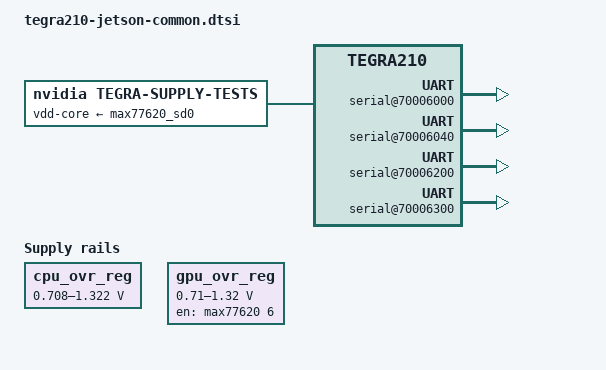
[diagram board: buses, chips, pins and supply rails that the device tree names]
/*
 * Copyright (c) 2014-2016, NVIDIA CORPORATION.  All rights reserved.
 *
 * This program is free software; you can redistribute it and/or modify
 * it under the terms of the GNU General Public License as published by
 * the Free Software Foundation; either version 2 of the License, or
 * (at your option) any later version.
 *
 * This program is distributed in the hope that it will be useful, but WITHOUT
 * ANY WARRANTY; without even the implied warranty of MERCHANTABILITY or
 * FITNESS FOR A PARTICULAR PURPOSE.  See the GNU General Public License for
 * more details.
 *
 * You should have received a copy of the GNU General Public License along
 * with this program; if not, write to the Free Software Foundation, Inc.,
 * 51 Franklin Street, Fifth Floor, Boston, MA  02110-1301, USA.
 */

#include <tegra210-soc/tegra210-soc-shield.dtsi>
#include <dt-bindings/interrupt-controller/arm-gic.h>
#include <dt-bindings/gpio/tegra-gpio.h>
#include <dt-bindings/padctrl/tegra210-pads.h>
#include <dt-bindings/clock/tegra210-car.h>
#include <dt-bindings/reset/tegra210-car.h>
#include <dt-bindings/soc/tegra-pmc.h>
#include <dt-bindings/thermal/tegra124-soctherm.h>
#include <dt-bindings/thermal/tegra210-trips.h>
#include <tegra210-soc/tegra210-prods.dtsi>
#include <t210-common-platforms/tegra210-ers-touch-e1937-1000-a00.dtsi>
#include <tegra210-soc/tegra210-modem-common.dtsi>
#include <tegra210-soc/tegra210-trusty.dtsi>

/ {
	nvidia,dtbbuildtime = __DATE__, __TIME__;

	serial@70006000 {
		compatible = "nvidia,tegra210-uart", "nvidia,tegra114-hsuart";
		console-port;
		sqa-automation-port;
		enable-rx-poll-timer;
		status = "okay";
	};

	serial@70006040 {
		status = "okay";
	};

	serial@70006200 {
		status = "okay";
	};

	serial@70006300 {
		status = "okay";
	};

	rtc {
		nvidia,pmc-wakeup = <&tegra_pmc PMC_WAKE_TYPE_EVENT 16
				     PMC_TRIGGER_TYPE_HIGH>;
	};

	pmc@7000e400 {
		nvidia,suspend-mode = <0>;
		nvidia,cpu-pwr-good-time = <0>;
		nvidia,cpu-pwr-off-time = <0>;
		nvidia,core-pwr-good-time = <4587 3876>;
		nvidia,core-pwr-off-time = <39065>;
		nvidia,core-power-req-active-high;
		nvidia,sys-clock-req-active-high;
		#nvidia,wake-cells = <3>;

		io-pad-defaults {
			pex-bias {
				nvidia,deep-power-down-enable;
			};

			pex-clk1 {
				nvidia,deep-power-down-enable;
			};

			pex-clk2 {
				nvidia,deep-power-down-enable;
			};
		};

		bootrom-commands {
			nvidia,command-retries-count = <2>;
			nvidia,delay-between-commands-us = <10>;
			nvidia,wait-before-start-bus-clear-us = <10>;
			#address-cells = <1>;
			#size-cells = <0>;
		};
	};

	extcon {
		id_gpio_extcon: extcon@0 {
			compatible = "extcon-gpio";
			reg = <0x0>;
			extcon-gpio,name = "ID";
			gpio = <&max77620 0 0>;
			extcon-gpio,connection-state-low;
			extcon-gpio,cable-name = "USB-Host";
			#extcon-cells = <1>;
		};
	};

	usb_cd: usb_cd@7009f000 {
		compatible = "nvidia,tegra210-usb-cd";
		reg = <0x0 0x7009f000 0x0 0x1000>;
		#extcon-cells = <1>;
		status = "disabled";
		dt-override-status-odm-data = <0x1000000 0x1000000>;
	};

	psy_extcon_xudc {
		compatible = "power-supply-extcon";
		extcon-cables = <&usb_cd 1 &usb_cd 2 &usb_cd 3
				&usb_cd 4 &usb_cd 5 &usb_cd 6
				&usb_cd 7 &usb_cd 8 &usb_cd 9>;
		extcon-cable-names = "usb-charger", "ta-charger", "maxim-charger",
				"qc2-charger", "downstream-charger", "slow-charger",
				"apple-500ma", "apple-1a", "apple-2a";
		status = "disabled";
		dt-override-status-odm-data = <0x1000000 0x1000000>;
	};

        psy_extcon {
                compatible = "power-supply-extcon";
                extcon-cables = <&udc 1 &udc 2 &udc 3
                                &udc 4 &udc 5 &udc 6
                                &udc 7 &udc 8 &udc 9
                                &udc 10 &udc 11 &udc 12 &udc 13 &otg 0 &otg 1>;
                extcon-cable-names = "usb-charger", "ta-charger", "maxim-charger",
                                "qc2-charger", "downstream-charger","fast-charger",
                                "slow-charger", "apple-500ma", "apple-1a",
                                "apple-2a", "ACA NV-Charger", "ACA RID-B", "ACA RID-C", "y-cable", "ACA RID-A";
				status = "disabled";
        };

	ehci@7d004000 {
		avdd_usb-supply = <&vdd_3v3>;
		avdd_pll_utmip-supply = <&max77620_sd3>;
		vddio_hsic-supply = <&max77620_ldo0>;
		status = "disabled";
	};

	watchdog@60005100 {
		dt-override-status-odm-data = <0x00010000 0x00010000>;
		nvidia,enable-on-init;
		nvidia,heartbeat-init = <120>;
	};

	tegra-supply-tests {
		compatible = "nvidia,tegra-supply-tests";
		vdd-core-supply=<&max77620_sd0>;
	};

	camera-pcl {
		dpd {
			compatible = "nvidia,csi-dpd";
			#address-cells = <1>;
			#size-cells = <0>;
			num = <6>;
			csia {
				reg = <0x0 0x0 0x0 0x0>;
			};
			csib {
				reg = <0x0 0x1 0x0 0x0>;
			};
			csic {
				reg = <0x1 0x0a 0x0 0x0>;
			};
			csid {
				reg = <0x1 0x0b 0x0 0x0>;
			};
			csie {
				reg = <0x1 0x0c 0x0 0x0>;
			};
			csif {
				reg = <0x1 0x0d 0x0 0x0>;
			};
		};
	};

	rollback-protection {
		device-name = "sdmmc";
		device-method = <0x1 0x00000002>;  /* type (0x1 = ioctl), argument */
		status = "disabled";
	};

        apbmisc@70000800 {
                compatible = "nvidia,tegra210-apbmisc", "nvidia,tegra20-apbmisc";
                reg = <0x0 0x70000800 0x0 0x64>,   /* Chip revision */
                      <0x0 0x70000008 0x0 0x04>;   /* Strapping options */
        };

	pwm_dfll: pwm@70110000 {
		compatible = "nvidia,tegra210-dfll-pwm";
		reg = <0x0 0x70110000 0x0 0x400>;
		clocks = <&tegra_car TEGRA210_CLK_DFLL_REF>;
		clock-names = "ref";
		#pwm-cells = <2>;
		pwm-regulator = <&cpu_ovr_reg>;
		status = "disable";
	};

	pwm_regulators {
		compatible = "simple-bus";
		#address-cells = <1>;
		#size-cells = <0>;

		cpu_ovr_reg: pwm-regulator@0 {
			status = "okay";
			reg = <0>;
			compatible = "pwm-regulator";
			pwms = <&pwm_dfll 0 2500>;
			regulator-name = "vdd-cpu";
			regulator-min-microvolt = <708000>;
			regulator-max-microvolt = <1322400>;
			regulator-always-on;
			regulator-boot-on;
			voltage-table =
				<708000 0>, <727200 1>, <746400 2>,
				<765600 3>, <784800 4>, <804000 5>,
				<823200 6>, <842400 7>, <861600 8>,
				<880800 9>, <900000 10>, <919200 11>,
				<938400 12>, <957600 13>, <976800 14>,
				<996000 15>, <1015200 16>, <1034400 17>,
				<1053600 18>, <1072800 19>, <1092000 20>,
				<1111200 21>, <1130400 22>, <1149600 23>,
				<1168800 24>, <1188000 25>, <1207200 26>,
				<1226400 27>, <1245600 28>, <1264800 29>,
				<1284000 30>, <1303200 31>, <1322400 32>;
		};

		gpu_ovr_reg: pwm-regulator@1 {
			status = "okay";
			reg = <1>;
			compatible = "pwm-regulator";
			pwms = <&tegra_pwm 1 4880>;
			regulator-name = "vdd-gpu";
			regulator-min-microvolt = <710000>;
			regulator-max-microvolt = <1320000>;
			regulator-init-microvolt = <1000000>;
			regulator-n-voltages = <62>;
			regulator-enable-ramp-delay = <1000>;
			enable-gpio = <&max77620 6 0>;
			voltage-time-sel = <80>;
                };

	};

	dfll: clock@70110000 {
		compatible = "nvidia,tegra210-dfll";
		interrupts = <GIC_SPI 62 IRQ_TYPE_LEVEL_HIGH>;
		clocks = <&tegra_car TEGRA210_CLK_DFLL_SOC>,
				<&tegra_car TEGRA210_CLK_DFLL_REF>,
				<&tegra_car TEGRA210_CLK_I2C5>;
		clock-names = "soc", "ref", "i2c";
		resets = <&tegra_car TEGRA210_RST_DFLL_DVCO>;
		reset-names = "dvco";
		#clock-cells = <0>;
		clock-output-names = "dfllCPU_out";
		status = "disabled";
	};

	cpus {
		cpu@0 {
			clocks = <&tegra_car TEGRA210_CLK_CCLK_G>,
				 <&tegra_car TEGRA210_CLK_CCLK_LP>,
				 <&tegra_car TEGRA210_CLK_PLL_X>,
				 <&tegra_car TEGRA210_CLK_PLL_P_OUT4>,
				 <&dfll>;
			clock-names = "cpu_g", "cpu_lp", "pll_x", "pll_p", "dfll";
			clock-latency = <300000>;
		};
	};

	mc: memory-controller@70019000 {
		compatible = "nvidia,tegra210-mc";
		reg = <0x0 0x70019000 0x0 0x1000>;
		clocks = <&tegra_car TEGRA210_CLK_MC>,
			 <&tegra_car TEGRA210_CLK_EMC>;
		clock-names = "mc", "emc";
		interrupts = <GIC_SPI 77 IRQ_TYPE_LEVEL_HIGH>;

		#iommu-cells = <1>;
		#mc-client-cells = <1>;
        };

	dfll_cap: dfll-cdev-cap {
		compatible = "nvidia,tegra-dfll-cdev-action";
		act-dev = <&dfll>;
		cdev-type = "DFLL-cap";
		#cooling-cells = <2>; /* min followed by max */
	};

	dfll_floor: dfll-cdev-floor {
		compatible = "nvidia,tegra-dfll-cdev-action";
		act-dev = <&dfll>;
		cdev-type = "DFLL-floor";
		#cooling-cells = <2>; /* min followed by max */
	};

	thermal-zones {
		CPU-therm {
			trips {
				dfll_floor_trip0: dfll-floor-trip0 {
					temperature = <TEGRA210_DFLL_THERMAL_FLOOR_0>; /* millicelsius */
					hysteresis = <1000>; /* millicelsius */
					type = "active";
				};
				dfll_floor_trip1: dfll-floor-trip1 {
					temperature = <TEGRA210_DFLL_THERMAL_FLOOR_1>; /* millicelsius */
					hysteresis = <1000>; /* millicelsius */
					type = "active";
				};
				dfll_floor_trip2: dfll-floor-trip2 {
					temperature = <TEGRA210_DFLL_THERMAL_FLOOR_2>; /* millicelsius */
					hysteresis = <1000>; /* millicelsius */
					type = "active";
				};
				dfll_floor_trip3: dfll-floor-trip3 {
					temperature = <TEGRA210_DFLL_THERMAL_FLOOR_3>; /* millicelsius */
					hysteresis = <1000>; /* millicelsius */
					type = "active";
				};
				dfll_cap_trip0: dfll-cap-trip0 {
					temperature = <TEGRA210_DFLL_THERMAL_CAP_0>; /* millicelsius */
					hysteresis = <1000>; /* millicelsius */
					type = "active";
				};
				dfll_cap_trip1: dfll-cap-trip1 {
					temperature = <TEGRA210_DFLL_THERMAL_CAP_1>; /* millicelsius */
					hysteresis = <1000>; /* millicelsius */
					type = "active";
				};
			};

			cooling-maps {
				dfll_map0 {
					trip = <&dfll_floor_trip0>;
					cooling-device = <&dfll_floor 1 1>;
				};
				dfll_map1 {
					trip = <&dfll_floor_trip1>;
					cooling-device = <&dfll_floor 2 2>;
				};
				dfll_map2 {
					trip = <&dfll_floor_trip2>;
					cooling-device = <&dfll_floor 3 3>;
				};
				dfll_map3 {
					trip = <&dfll_floor_trip3>;
					cooling-device = <&dfll_floor 4 4>;
				};
				dfll_map5 {
					trip = <&dfll_cap_trip0>;
					cooling-device = <&dfll_cap 1 1>;
				};
				dfll_map6 {
					trip = <&dfll_cap_trip1>;
					cooling-device = <&dfll_cap 2 2>;
				};
			};
		};
	};
};
